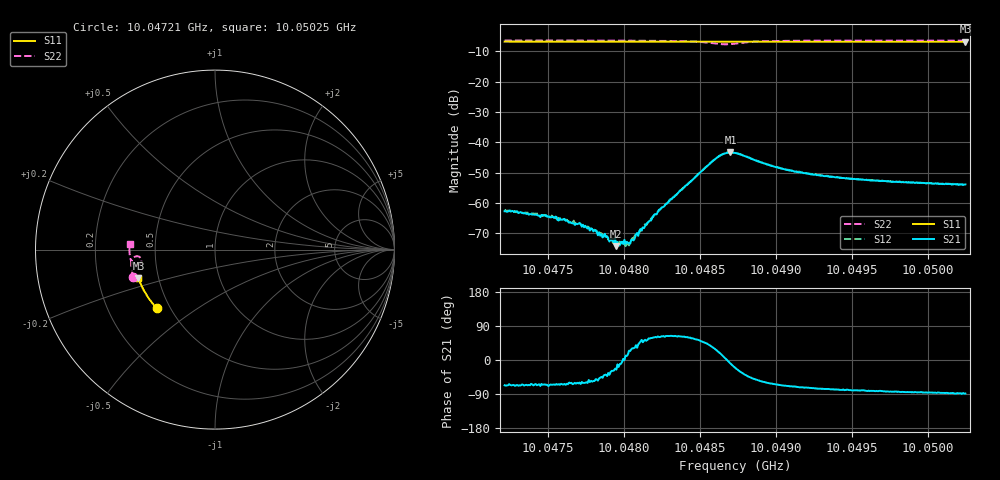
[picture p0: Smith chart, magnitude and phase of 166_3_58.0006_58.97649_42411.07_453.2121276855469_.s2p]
#  HZ  S  RI  R  50.00
! Rohde & Schwarz Vector Network Analyzer
! Rohde-Schwarz,ZNB20-2Port,1311601062101988,3.16
! Created: UTC 3/21/2024, 12:57:44 AM
! freq[Hz]  re:S11  im:S11  re:S21  im:S21  re:S12  im:S12  re:S22  im:S22
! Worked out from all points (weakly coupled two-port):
!   401 points, 10.04721 GHz to 10.05025 GHz, reference 50 ohm
!   highest |S21| = -43.33 dB at 10.0487 GHz (marker M1); lowest = -74.2 dB at 10.04795 GHz (marker M2)
!   lowest |S11| = -6.8 dB at 10.05025 GHz (marker M3), VSWR 2.67, Z = 19.2 - j7.66 ohm
!   |S11| at or under -10 dB: nowhere
!   |S22| runs from -7.7 to -6.4 dB; largest |S21 - S12| = 0.00049
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1.0047214e10  -0.3235 -0.3276  0.000288 -0.000668  0.000359 -0.000689  -0.4543 -0.152
1.0047419e10  -0.3327 -0.3174  0.000286 -0.000573  0.000325 -0.000581  -0.4584 -0.1383
1.004754e10  -0.3381 -0.3115  0.000242 -0.000509  0.000258 -0.000485  -0.4603 -0.1298
1.0047722e10  -0.3459 -0.3023  0.000215 -0.000344  0.000234 -0.000367  -0.4632 -0.117
1.0047798e10  -0.349 -0.2983  0.000192 -0.000279  0.000231 -0.000267  -0.4641 -0.1113
1.0047843e10  -0.3508 -0.2958  0.000198 -0.000209  0.000215 -0.000235  -0.4645 -0.1077
1.0047881e10  -0.3524 -0.2939  0.000214 -0.000172  0.000212 -0.000162  -0.465 -0.1048
1.0047949e10  -0.3553 -0.2904  0.000175 -8.31e-05  0.000224 -9.42e-05  -0.4658 -0.0993
1.0047965e10  -0.3558 -0.2896  0.000186 -6.13e-05  0.000216 -3.89e-05  -0.4658 -0.0982
1.0048002e10  -0.3573 -0.2876  0.000245 -3.5e-07  0.000215 4.43e-05  -0.4662 -0.0951
1.0048025e10  -0.3581 -0.2863  0.000212 5.43e-05  0.000218 8.19e-05  -0.4665 -0.0931
1.0048055e10  -0.3594 -0.2847  0.00021 0.000126  0.000231 0.000124  -0.4666 -0.0904
1.0048093e10  -0.3609 -0.2827  0.000216 0.000186  0.000222 0.000235  -0.4668 -0.0872
1.004823e10  -0.3663 -0.2753  0.00038 0.000672  0.000304 0.000673  -0.4665 -0.0744
1.0048579e10  -0.3789 -0.2561  0.00391 0.00273  0.00378 0.00297  -0.4316 -0.0369
1.0048639e10  -0.3806 -0.2527  0.00597 0.00161  0.00587 0.00196  -0.414 -0.0473
1.00487e10  -0.3827 -0.2496  0.00673 -0.00109  0.00683 -0.000661  -0.411 -0.0701
1.004873e10  -0.3838 -0.248  0.00627 -0.00233  0.00645 -0.00192  -0.4171 -0.0796
1.004898e10  -0.3924 -0.234  0.00182 -0.00359  0.00205 -0.00348  -0.4635 -0.0692
1.0049238e10  -0.4006 -0.219  0.00081 -0.00284  0.000983 -0.00281  -0.4728 -0.0437
1.0049746e10  -0.4149 -0.1886  0.000247 -0.00224  0.00044 -0.00223  -0.4768 -0.00376
1.0050246e10  -0.4267 -0.1578  5.98e-05 -0.00201  0.000173 -0.00199  -0.4755 0.0315
